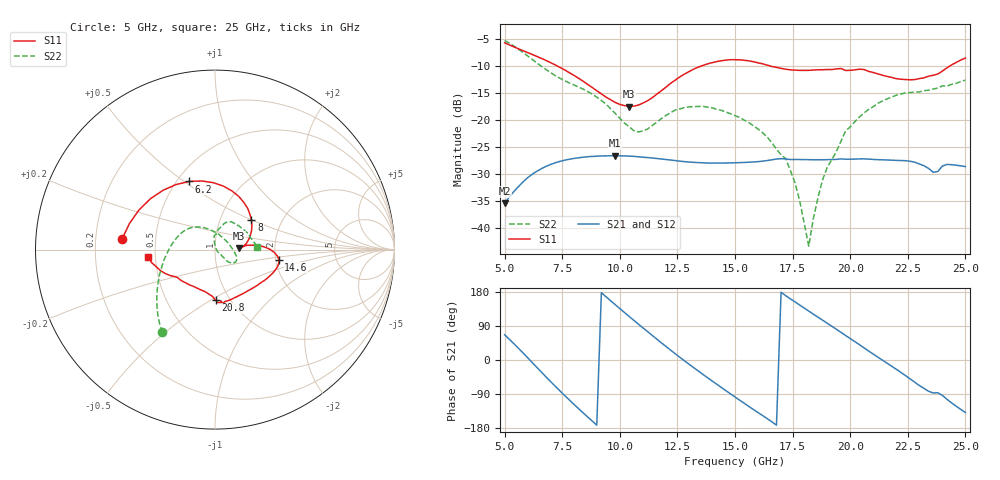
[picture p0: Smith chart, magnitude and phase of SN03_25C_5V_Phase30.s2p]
!File name = SN03_25C_5V_Phase30.s2p
!Date = 2/3/2014
!Time = 2:36 PM
!Test duration(min) = 0.07
!Test = SPars
!MPTS version = 7.120.8
!Comments =
!set_LD1(binary) = 30
!set_LD2(binary) = 524257
!test = SPars
!date_code = 20140203
!file_name = SN03_25C_5V_Phase30.s2p
!VREF(V) = 5.000
!VREF(mA) = 0.003
# GHz  S  DB  R  50
!%	Freq(GHz)  S11(dB)  S11(deg)  S21(dB)  S21(deg)  S12(dB)  S12(deg)  S22(dB)  S22(deg)
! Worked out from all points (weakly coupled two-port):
!   101 points, 5 GHz to 25 GHz, reference 50 ohm
!   highest |S21| = -26.58 dB at 9.8 GHz (marker M1); lowest = -35.4 dB at 5 GHz (marker M2)
!   lowest |S11| = -17.5 dB at 10.4 GHz (marker M3), VSWR 1.31, Z = 65.4 + j1.03 ohm
!   |S11| at or under -10 dB: 7.3 GHz to 13.52 GHz (6.219 GHz wide, 59.7 % of centre); 16.55 GHz to 24.31 GHz (7.76 GHz wide, 38 % of centre)
!   |S22| runs from -43.3 to -5.2 dB; largest |S21 - S12| = 0.00027
!   S11 on the Smith chart (normalised r, x): 5 GHz: 0.32, +0.05; 6.2 GHz: 0.58, +0.52; 8 GHz: 1.41, +0.49; 14.6 GHz: 2.08, -0.26; 20.8 GHz: 0.86, -0.53; 25 GHz: 0.45, -0.04
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5  -5.67 173.3  -35.36 66.7  -35.36 66.6  -5.24 -122.4
6.2  -7.83 110.7  -30.00 -6.9  -30.01 -6.9  -8.75 -150.2
7  -9.35 74.1  -28.18 -57.2  -28.21 -57.0  -11.20 -173.2
8  -11.67 38.8  -27.08 -116.5  -27.12 -116.2  -13.46 155.8
8.4  -12.76 27.7  -26.85 -139.0  -26.88 -138.8  -14.23 144.7
9.8  -16.71 3.7  -26.58 146.1  -26.60 146.3  -18.73 104.6
10.4  -17.48 3.3  -26.64 115.2  -26.66 115.4  -21.19 75.4
11  -16.84 6.0  -26.84 85.1  -26.85 85.1  -22.00 35.0
11.8  -14.56 7.6  -27.18 45.6  -27.19 45.6  -19.70 -3.0
13  -11.01 2.5  -27.74 -10.9  -27.73 -10.9  -17.54 -24.3
14.6  -8.89 -8.9  -27.91 -80.7  -27.92 -80.8  -18.47 -39.2
15  -8.80 -12.3  -27.88 -97.5  -27.88 -97.7  -19.15 -41.0
17.2  -10.56 -48.7  -27.17 169.8  -27.18 169.9  -27.09 -41.0
17.6  -10.73 -57.0  -27.27 153.6  -27.27 153.6  -31.50 -42.0
18.2  -10.77 -68.0  -27.30 129.1  -27.31 129.1  -43.31 31.2
18.4  -10.71 -71.0  -27.31 121.1  -27.33 121.1  -38.21 72.2
18.8  -10.66 -75.6  -27.31 105.1  -27.32 105.2  -31.05 90.4
19.8  -10.79 -83.2  -27.21 64.6  -27.23 64.7  -21.99 92.3
20.8  -10.96 -89.1  -27.20 23.6  -27.21 23.7  -17.99 76.4
21.8  -12.08 -98.6  -27.40 -16.5  -27.41 -16.4  -15.72 67.9
23.2  -12.16 -131.3  -28.42 -74.8  -28.44 -74.7  -14.53 44.9
25  -8.50 -173.9  -28.59 -138.5  -28.59 -138.5  -12.59 3.9
